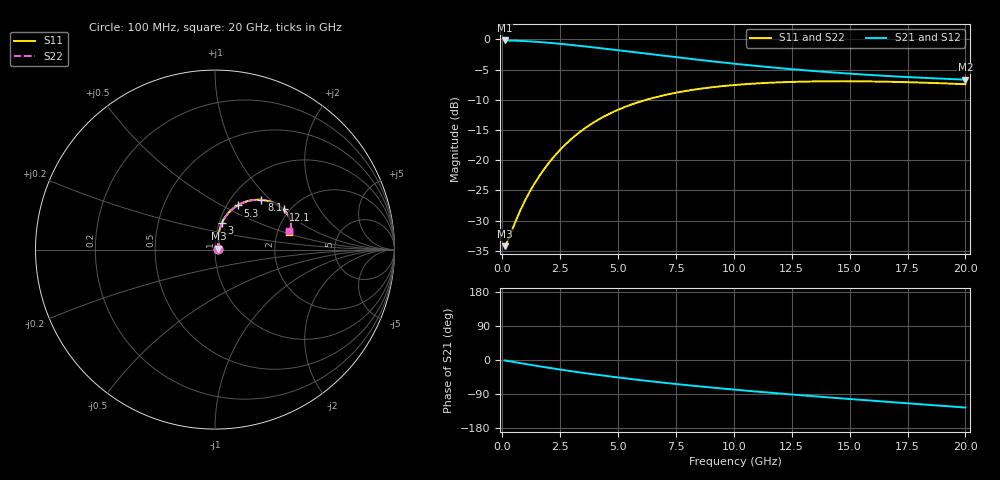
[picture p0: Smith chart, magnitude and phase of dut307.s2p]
! Touchstone file exported from HFSS 2024.1.0
!  File:  C:/UserFiles/LocalFiles/RDL_TSV_Batchsim/temp_RDL_TSV_307_1779626293.aedt
!  Generated:  08:53:18 PM May 24, 2026
!  Design:  RDL_TSV
!  Project:  temp_RDL_TSV_307_1779626293
!  Setup:  Setup1
!  Solution:  Sweep
! Variables:
!  dtsv = 6.03um
!  hbump = 3um
!  htsv = 71.86um
!  ldown = 169.25um
!  lrdl = 253.21um
!  p = 40
!  p1 = 45.05um
!  rhole = 10um
!  subl = 1520.59um
!  t = 450um
!  tdown = 2.55um
!  trdl = 2.96um
!  viad = 10um
!  wdown = 11.5um
!  wrdl = 10.24um
!  xbump = 18um
# GHz S MA R 50.000000
! Terminal data exported
! Port[1] = TM1_1_T1
! Port[2] = TM1_4_T1
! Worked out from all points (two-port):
!   200 points, 100 MHz to 20 GHz, reference 50 ohm
!   highest |S21| = -0.17 dB at 100 MHz (marker M1); lowest = -6.6 dB at 20 GHz (marker M2)
!   |S21| within 3 dB of the highest: start of sweep to 8.006 GHz
!   lowest |S11| = -34.2 dB at 100 MHz (marker M3), VSWR 1.04, Z = 51.9 + j0.45 ohm
!   |S11| at or under -10 dB: start of sweep to 6.206 GHz
!   |S22| runs from -34.2 to -6.9 dB; largest |S21 - S12| = 9.2e-15
!   S11 on the Smith chart (normalised r, x): 100 MHz: 1.04, +0.01; 3 GHz: 1.03, +0.31; 5.3 GHz: 1.12, +0.60; 8.1 GHz: 1.37, +0.89; 12.1 GHz: 1.86, +1.04; 20 GHz: 2.31, +0.57
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0.1  0.01943 12.9  0.9809 -1.1  0.9809 -1.1  0.01943 12.9
! Gamma 0 0 0 0
! Port Impedance 50 0 50 0
0.2  0.02089 24.4  0.9804 -2.2  0.9804 -2.2  0.02089 24.4
0.3  0.02308 34.0  0.9797 -3.2  0.9797 -3.2  0.02308 34.0
0.6  0.03211 52.9  0.976 -6.4  0.976 -6.4  0.03211 52.9
0.9  0.04311 63.2  0.9706 -9.6  0.9706 -9.6  0.04311 63.2
1.1  0.05124 67.7  0.9661 -11.6  0.9661 -11.6  0.05124 67.7
1.4  0.06453 72.3  0.9581 -14.7  0.9581 -14.7  0.06452 72.3
1.8  0.08408 75.5  0.9457 -18.6  0.9457 -18.6  0.08408 75.6
2.2  0.1053 76.8  0.9315 -22.4  0.9315 -22.4  0.1053 76.8
2.6  0.1278 76.6  0.9161 -26.2  0.9161 -26.2  0.1278 76.7
3  0.1509 75.6  0.8997 -29.8  0.8997 -29.8  0.1509 75.6
3.5  0.18 73.5  0.8786 -34.1  0.8786 -34.1  0.18 73.5
4.3  0.2251 69.1  0.844 -40.7  0.844 -40.7  0.2251 69.1
5.3  0.2763 62.9  0.8009 -48.3  0.8009 -48.3  0.2763 63.0
6  0.3077 58.7  0.7716 -53.4  0.7716 -53.4  0.3078 58.7
6.8  0.3389 54.0  0.7395 -58.8  0.7395 -58.8  0.339 54.0
8.1  0.3794 47.0  0.6911 -67.1  0.6911 -67.1  0.3795 47.0
10.1  0.4206 37.8  0.6273 -78.6  0.6273 -78.6  0.4208 37.8
12.1  0.4425 30.4  0.576 -89.1  0.576 -89.1  0.4427 30.4
13.4  0.449 26.4  0.5488 -95.4  0.5488 -95.4  0.4492 26.4
16.7  0.4465 18.5  0.4974 -110.7  0.4974 -110.7  0.4468 18.5
20  0.426 13.7  0.4651 -125.5  0.4651 -125.5  0.4263 13.7
